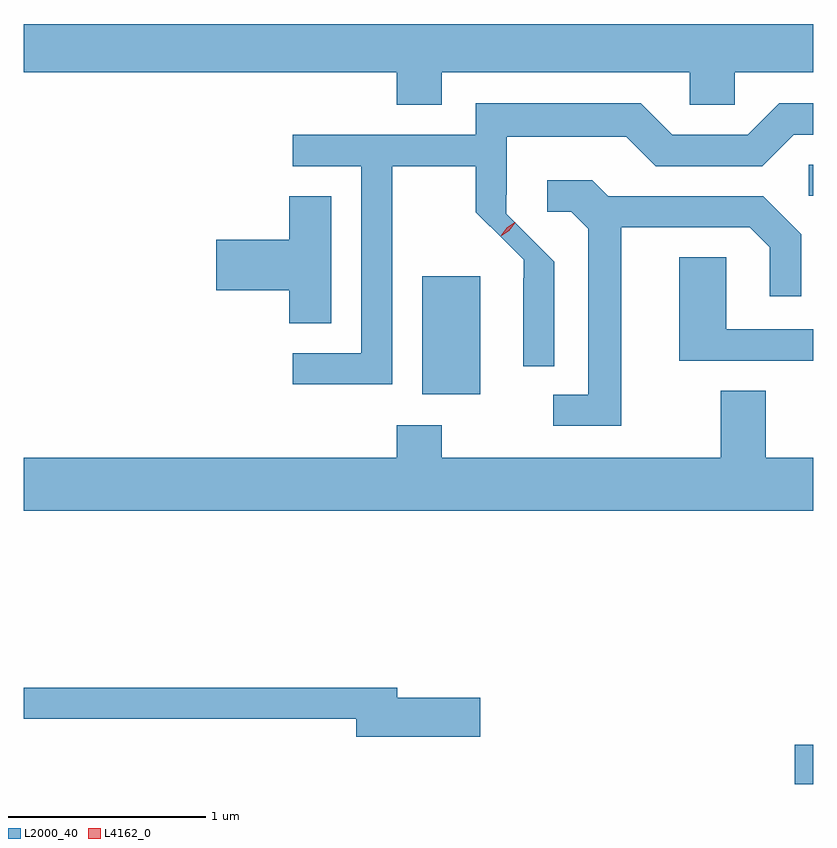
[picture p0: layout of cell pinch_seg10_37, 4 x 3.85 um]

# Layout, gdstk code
import gdstk
lib = gdstk.Library(unit=1e-6, precision=1e-09)
def R(c, l, rs):  # rectangles x0, y0, x1, y1
    for r in rs: c.add(gdstk.rectangle(r[:2], r[2:], *l))
def P(c, l, *ps):  # polygons
    for p in ps: c.add(gdstk.Polygon(p, *l))
L2000_40 = (2000, 40)
L4162_0 = (4162, 0)

pinch_seg10_37 = lib.new_cell('pinch_seg10_37')
R(pinch_seg10_37, L2000_40, [(600.806,2190.231,600.901,2190.429), (598.921,2192.206,599.214,2192.804), (600.878,2193.211,600.901,2193.369)])
P(pinch_seg10_37, L2000_40, [(599.019,2193.836),(600.276,2193.836),(600.276,2193.671),(600.504,2193.671),(600.504,2193.836),(600.901,2193.836),(600.901,2194.081),(596.901,2194.081),(596.901,2193.836),(598.791,2193.836),(598.791,2193.671),(599.019,2193.671)],
  [(598.769,2193.361),(599.191,2193.361),(599.191,2193.127),(599.261,2193.057),(599.263,2193.059),(599.434,2192.888),(599.434,2192.792),(599.431,2192.792),(599.431,2192.348),(599.589,2192.348),(599.589,2192.877),(599.345,2193.121),(599.345,2193.215),(599.349,2193.215),(599.349,2193.511),(599.954,2193.511),(600.104,2193.361),(600.642,2193.361),(600.802,2193.521),(600.901,2193.521),(600.901,2193.679),(600.729,2193.679),(600.569,2193.519),(600.187,2193.519),(600.027,2193.679),(599.191,2193.679),(599.191,2193.519),(598.263,2193.519),(598.263,2193.361),(598.611,2193.361),(598.611,2192.414),(598.263,2192.414),(598.263,2192.256),(598.769,2192.256)],
  [(599.929,2193.051),(600.579,2193.051),(600.681,2192.949),(600.681,2192.703),(600.839,2192.703),(600.839,2193.017),(600.647,2193.209),(599.862,2193.209),(599.782,2193.289),(599.553,2193.289),(599.553,2193.131),(599.674,2193.131),(599.761,2193.044),(599.761,2192.204),(599.583,2192.204),(599.583,2192.046),(599.929,2192.046)],
  [(598.459,2193.209),(598.246,2193.209),(598.246,2192.989),(597.876,2192.989),(597.876,2192.731),(598.246,2192.731),(598.246,2192.566),(598.459,2192.566)],
  [(600.901,2192.534),(600.459,2192.534),(600.459,2192.899),(600.221,2192.899),(600.221,2192.376),(600.901,2192.376)],
  [(600.901,2191.884),(600.659,2191.884),(600.659,2192.224),(600.431,2192.224),(600.431,2191.884),(599.019,2191.884),(599.019,2192.049),(598.791,2192.049),(598.791,2191.884),(596.901,2191.884),(596.901,2191.616),(600.901,2191.616)],
  [(599.214,2190.669),(598.794,2190.669),(598.794,2190.719),(596.901,2190.719),(596.901,2190.561),(598.586,2190.561),(598.586,2190.471),(599.214,2190.471)])
P(pinch_seg10_37, L4162_0, [(599.321,2193.01),(599.321,2193.01),(599.347,2193.048),(599.385,2193.072),(599.386,2193.072),(599.386,2193.072),(599.36,2193.034),(599.322,2193.01)],
  [(599.317,2193.006),(599.317,2193.006),(599.347,2193.048),(599.389,2193.076),(599.39,2193.076),(599.39,2193.075),(599.361,2193.033),(599.318,2193.006)])

lib.write_gds('pinch_seg10_37.gds')
